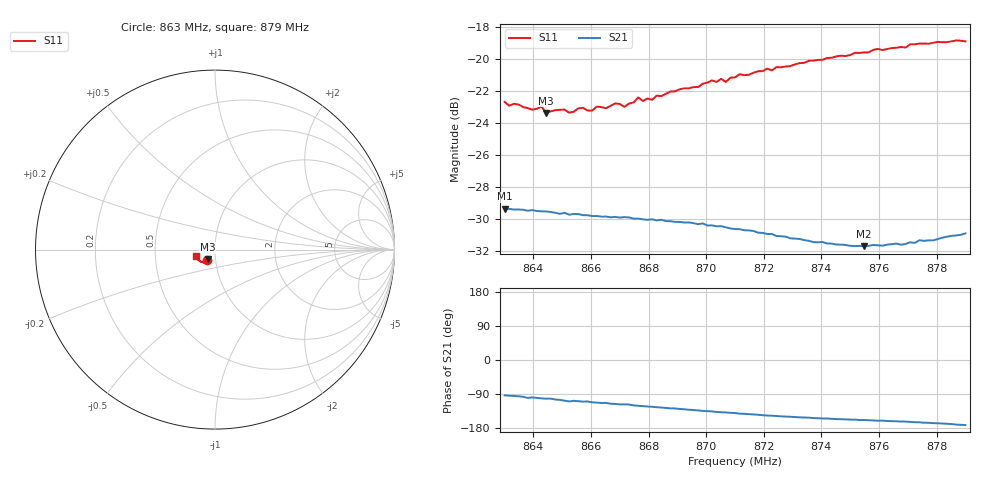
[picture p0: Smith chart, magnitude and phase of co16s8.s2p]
# HZ S RI R 50
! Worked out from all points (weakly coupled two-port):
!   101 points, 863 MHz to 879 MHz, reference 50 ohm
!   highest |S21| = -29.37 dB at 863 MHz (marker M1); lowest = -31.7 dB at 875.48 MHz (marker M2)
!   lowest |S11| = -23.4 dB at 864.44 MHz (marker M3), VSWR 1.15, Z = 45.9 - j5.03 ohm
!   |S11| at or under -10 dB: start of sweep to end of sweep
!   S12 and S22 are empty: the file has one direction only
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8.63e8  -0.046 -0.0572  -0.00193 -0.0339  0 0  0 0
8.6316e8  -0.0439 -0.0563  -0.00247 -0.0339  0 0  0 0
8.6348e8  -0.0447 -0.0565  -0.00346 -0.0337  0 0  0 0
8.6396e8  -0.0416 -0.0556  -0.00523 -0.0333  0 0  0 0
8.6428e8  -0.0416 -0.0575  -0.0066 -0.0327  0 0  0 0
8.6444e8  -0.0403 -0.0546  -0.00698 -0.0326  0 0  0 0
8.6508e8  -0.0388 -0.0576  -0.00983 -0.0315  0 0  0 0
8.6524e8  -0.0367 -0.0571  -0.0108 -0.0308  0 0  0 0
8.6572e8  -0.0372 -0.0597  -0.011 -0.0305  0 0  0 0
8.6604e8  -0.0364 -0.0586  -0.0119 -0.03  0 0  0 0
8.6684e8  -0.0392 -0.0611  -0.014 -0.0289  0 0  0 0
8.6716e8  -0.0338 -0.0622  -0.0145 -0.0285  0 0  0 0
8.6764e8  -0.0398 -0.0645  -0.0163 -0.0272  0 0  0 0
8.678e8  -0.0379 -0.0634  -0.0165 -0.0268  0 0  0 0
8.6844e8  -0.0393 -0.0656  -0.0182 -0.0256  0 0  0 0
8.702e8  -0.0473 -0.0715  -0.0216 -0.021  0 0  0 0
8.7068e8  -0.0482 -0.0697  -0.0222 -0.0198  0 0  0 0
8.71e8  -0.0512 -0.071  -0.0225 -0.0189  0 0  0 0
8.7372e8  -0.069 -0.0707  -0.0239 -0.0121  0 0  0 0
8.7548e8  -0.0819 -0.0654  -0.0241 -0.00958  0 0  0 0
8.7644e8  -0.0903 -0.0594  -0.025 -0.00843  0 0  0 0
8.79e8  -0.1069 -0.0381  -0.0282 -0.00411  0 0  0 0
